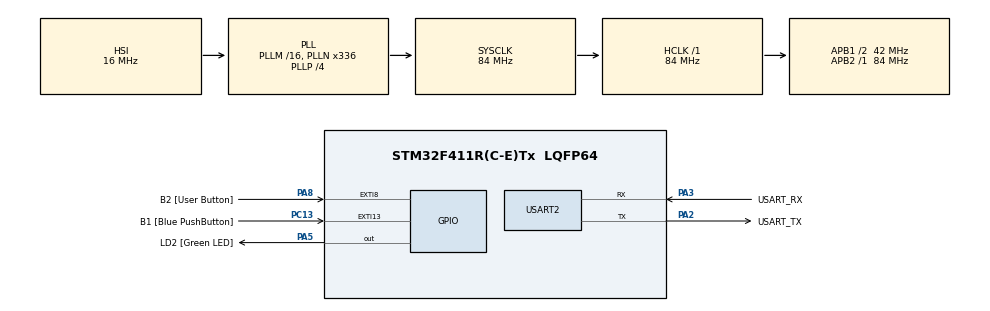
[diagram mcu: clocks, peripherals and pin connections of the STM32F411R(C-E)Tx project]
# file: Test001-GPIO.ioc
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Mcu.Family=STM32F4
Mcu.Name=STM32F411R(C-E)Tx
Mcu.Package=LQFP64
NVIC.EXTI15_10_IRQn=true\:0\:0\:false\:false\:true\:true\:true\:true
NVIC.EXTI9_5_IRQn=true\:0\:0\:false\:false\:true\:true\:true\:true
NVIC.PriorityGroup=NVIC_PRIORITYGROUP_0
PA13.GPIO_Label=TMS
PA13.Mode=Serial_Wire
PA13.Signal=SYS_JTMS-SWDIO
PA14.GPIO_Label=TCK
PA14.Mode=Serial_Wire
PA14.Signal=SYS_JTCK-SWCLK
PA2.GPIO_Label=USART_TX
PA2.Mode=Asynchronous
PA2.Signal=USART2_TX
PA3.GPIO_Label=USART_RX
PA3.Mode=Asynchronous
PA3.Signal=USART2_RX
PA5.GPIO_Label=LD2 [Green LED]
PA5.Signal=GPIO_Output
PA8.GPIO_Label=B2 [User Button]
PA8.Signal=GPXTI8
PB3.GPIO_Label=SWO
PB3.Signal=SYS_JTDO-SWO
PC13-ANTI_TAMP.GPIO_Label=B1 [Blue PushButton]
PC13-ANTI_TAMP.GPIO_ModeDefaultEXTI=GPIO_MODE_IT_FALLING
PC13-ANTI_TAMP.Signal=GPXTI13
PC14-OSC32_IN.Mode=LSE-External-Oscillator
PC14-OSC32_IN.Signal=RCC_OSC32_IN
PC15-OSC32_OUT.Mode=LSE-External-Oscillator
PC15-OSC32_OUT.Signal=RCC_OSC32_OUT
PH0\ -\ OSC_IN.Mode=HSE-External-Clock-Source
PH0\ -\ OSC_IN.Signal=RCC_OSC_IN
PH1\ -\ OSC_OUT.Mode=HSE-External-Clock-Source
PH1\ -\ OSC_OUT.Signal=RCC_OSC_OUT
ProjectManager.HeapSize=0x200
ProjectManager.StackSize=0x400
ProjectManager.TargetToolchain=STM32CubeIDE
RCC.48MHZClocksFreq_Value=84000000
RCC.AHBFreq_Value=84000000
RCC.APB1CLKDivider=RCC_HCLK_DIV2
RCC.APB1Freq_Value=42000000
RCC.APB1TimFreq_Value=84000000
RCC.APB2Freq_Value=84000000
RCC.APB2TimFreq_Value=84000000
RCC.CortexFreq_Value=84000000
RCC.FLatency-AdvancedSettings=FLASH_LATENCY_2
RCC.HCLKFreq_Value=84000000
RCC.HSE_VALUE=8000000
RCC.HSI_VALUE=16000000
RCC.PLLN=336
RCC.PLLP=RCC_PLLP_DIV4
RCC.SYSCLKFreq_VALUE=84000000
RCC.SYSCLKSource=RCC_SYSCLKSOURCE_PLLCLK
RCC.VCOOutputFreq_Value=336000000
USART2.VirtualMode=VM_ASYNC
board=NUCLEO-F411RE

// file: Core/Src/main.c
/* USER CODE BEGIN Header */
/**
  ******************************************************************************
  * @file           : main.c
  * @brief          : Main program body
  ******************************************************************************
  * @attention
  *
  * Copyright (c) 2024 STMicroelectronics.
  * All rights reserved.
  *
  * This software is licensed under terms that can be found in the LICENSE file
  * in the root directory of this software component.
  * If no LICENSE file comes with this software, it is provided AS-IS.
  *
  ******************************************************************************
  */
/* USER CODE END Header */
#include "main.h"

/* USER CODE BEGIN Includes */
#include <stdio.h>
/* USER CODE END Includes */

UART_HandleTypeDef huart2;

/* USER CODE BEGIN PV */
int __io_putchar(int ch)
/*__ It's a system function that has a lot of underlines. Output to ports in 1-character units*/
{
	HAL_UART_Transmit(&huart2, &ch, 1, 10);
/* *Write &(address) to express. uint8_t is 8 bit char. on a ms basis.
When attached to the MSB side, Little endian (intel Cpu) If you stick to the LSB side, Big endian
It goes backwards in Byte units. It goes in the order of L,1,2,3.*/
	return ch;
}
//int __io_getchar(void);
/* USER CODE END PV */

void SystemClock_Config(void);
static void MX_GPIO_Init(void);
static void MX_USART2_UART_Init(void);

/* USER CODE BEGIN 0 */
int mode = 0;
int count = 0;
void HAL_GPIO_EXTI_Callback(uint16_t GPIO_Pin)
/* EXTI15(B1) ISR, All EXTIx ISRs are integrated into void HAL_GPIO_EXTI_Callback.
For classification, it is divided into if-elseif sentences or switch-case sentences.*/
{
	switch(GPIO_Pin)
	{
	case B1_Pin:
		mode ++;
		if(mode > 1) mode = 0;
		break;
	case B2_Pin:
		printf("%d times pressed\r\n", count++); // printf is a screen output function
		break;
	}
}
/* USER CODE END 0 */

int main(void)
{

  /* MCU Configuration--------------------------------------------------------*/

  /* Reset of all peripherals, Initializes the Flash interface and the Systick. */
  HAL_Init();

  /* Configure the system clock */
  SystemClock_Config();

  /* Initialize all configured peripherals */
  MX_GPIO_Init();
  MX_USART2_UART_Init();
  /* USER CODE BEGIN 2 */
/* \033[ : escape sequence. 2J : Screen Initialization (Clear). y;xH : Move the cursor to the (x,y) position */
  printf("\033[2J\n");
  printf("\033[1;1H\n");

  /* USER CODE END 2 */

  /* Infinite loop */
  /* USER CODE BEGIN WHILE */
  while (1)
  {
	  // int a = HAL_GPIO_ReadPin(GPIOC, GPIO_PIN_13); // PC13 : B1
	  if(mode == 1)
	  {
		  HAL_GPIO_WritePin(LD2_GPIO_Port, LD2_Pin, 1); // PA5
		  HAL_Delay(500); // 500ms
		  HAL_GPIO_WritePin(LD2_GPIO_Port, LD2_Pin, 0);
		  HAL_Delay(500); // 500ms
	  }
    /* USER CODE END WHILE */

  }
}

void SystemClock_Config(void)
{
  RCC_OscInitTypeDef RCC_OscInitStruct = {0};
  RCC_ClkInitTypeDef RCC_ClkInitStruct = {0};

  /** Configure the main internal regulator output voltage
  */
  __HAL_RCC_PWR_CLK_ENABLE();
  __HAL_PWR_VOLTAGESCALING_CONFIG(PWR_REGULATOR_VOLTAGE_SCALE1);

  /** Initializes the RCC Oscillators according to the specified parameters
  * in the RCC_OscInitTypeDef structure.
  */
  RCC_OscInitStruct.OscillatorType = RCC_OSCILLATORTYPE_HSI;
  RCC_OscInitStruct.HSIState = RCC_HSI_ON;
  RCC_OscInitStruct.HSICalibrationValue = RCC_HSICALIBRATION_DEFAULT;
  RCC_OscInitStruct.PLL.PLLState = RCC_PLL_ON;
  RCC_OscInitStruct.PLL.PLLSource = RCC_PLLSOURCE_HSI;
  RCC_OscInitStruct.PLL.PLLM = 16;
  RCC_OscInitStruct.PLL.PLLN = 336;
  RCC_OscInitStruct.PLL.PLLP = RCC_PLLP_DIV4;
  RCC_OscInitStruct.PLL.PLLQ = 4;
  if (HAL_RCC_OscConfig(&RCC_OscInitStruct) != HAL_OK)
  {
    Error_Handler();
  }

  /** Initializes the CPU, AHB and APB buses clocks
  */
  RCC_ClkInitStruct.ClockType = RCC_CLOCKTYPE_HCLK|RCC_CLOCKTYPE_SYSCLK
                              |RCC_CLOCKTYPE_PCLK1|RCC_CLOCKTYPE_PCLK2;
  RCC_ClkInitStruct.SYSCLKSource = RCC_SYSCLKSOURCE_PLLCLK;
  RCC_ClkInitStruct.AHBCLKDivider = RCC_SYSCLK_DIV1;
  RCC_ClkInitStruct.APB1CLKDivider = RCC_HCLK_DIV2;
  RCC_ClkInitStruct.APB2CLKDivider = RCC_HCLK_DIV1;

  if (HAL_RCC_ClockConfig(&RCC_ClkInitStruct, FLASH_LATENCY_2) != HAL_OK)
  {
    Error_Handler();
  }
}

static void MX_USART2_UART_Init(void)
{

  huart2.Instance = USART2;
  huart2.Init.BaudRate = 115200;
  huart2.Init.WordLength = UART_WORDLENGTH_8B;
  huart2.Init.StopBits = UART_STOPBITS_1;
  huart2.Init.Parity = UART_PARITY_NONE;
  huart2.Init.Mode = UART_MODE_TX_RX;
  huart2.Init.HwFlowCtl = UART_HWCONTROL_NONE;
  huart2.Init.OverSampling = UART_OVERSAMPLING_16;
  if (HAL_UART_Init(&huart2) != HAL_OK)
  {
    Error_Handler();
  }

}

static void MX_GPIO_Init(void)
{
  GPIO_InitTypeDef GPIO_InitStruct = {0};

  /* GPIO Ports Clock Enable */
  __HAL_RCC_GPIOC_CLK_ENABLE();
  __HAL_RCC_GPIOH_CLK_ENABLE();
  __HAL_RCC_GPIOA_CLK_ENABLE();
  __HAL_RCC_GPIOB_CLK_ENABLE();

  /*Configure GPIO pin Output Level */
  HAL_GPIO_WritePin(LD2_GPIO_Port, LD2_Pin, GPIO_PIN_RESET);

  /*Configure GPIO pin : B1_Pin */
  GPIO_InitStruct.Pin = B1_Pin;
  GPIO_InitStruct.Mode = GPIO_MODE_IT_FALLING;
  GPIO_InitStruct.Pull = GPIO_NOPULL;
  HAL_GPIO_Init(B1_GPIO_Port, &GPIO_InitStruct);

  /*Configure GPIO pin : LD2_Pin */
  GPIO_InitStruct.Pin = LD2_Pin;
  GPIO_InitStruct.Mode = GPIO_MODE_OUTPUT_PP;
  GPIO_InitStruct.Pull = GPIO_NOPULL;
  GPIO_InitStruct.Speed = GPIO_SPEED_FREQ_LOW;
  HAL_GPIO_Init(LD2_GPIO_Port, &GPIO_InitStruct);

  /*Configure GPIO pin : B2_Pin */
  GPIO_InitStruct.Pin = B2_Pin;
  GPIO_InitStruct.Mode = GPIO_MODE_IT_RISING;
  GPIO_InitStruct.Pull = GPIO_NOPULL;
  HAL_GPIO_Init(B2_GPIO_Port, &GPIO_InitStruct);

  /* EXTI interrupt init*/
  HAL_NVIC_SetPriority(EXTI9_5_IRQn, 0, 0);
  HAL_NVIC_EnableIRQ(EXTI9_5_IRQn);

  HAL_NVIC_SetPriority(EXTI15_10_IRQn, 0, 0);
  HAL_NVIC_EnableIRQ(EXTI15_10_IRQn);

}

void Error_Handler(void)
{
  __disable_irq();
  while (1)
  {
  }
}
